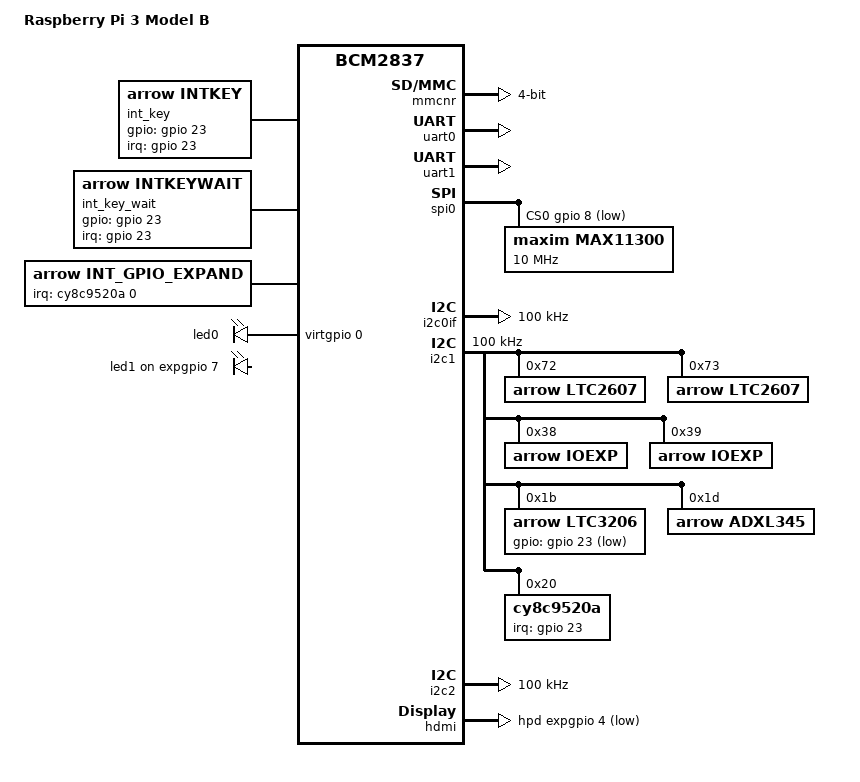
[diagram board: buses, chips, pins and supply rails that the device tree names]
/dts-v1/;

#include "bcm2710.dtsi"
#include "bcm2709-rpi.dtsi"
#include "bcm283x-rpi-smsc9514.dtsi"
#include "bcm283x-rpi-csi1-2lane.dtsi"
#include "bcm283x-rpi-i2c0mux_0_44.dtsi"
#include "bcm271x-rpi-bt.dtsi"
#include <dt-bindings/iio/maxim,max11300.h>

/ {
	compatible = "raspberrypi,3-model-b", "brcm,bcm2837";
	model = "Raspberry Pi 3 Model B";

	chosen {
		bootargs = "coherent_pool=1M 8250.nr_uarts=1 snd_bcm2835.enable_compat_alsa=0 snd_bcm2835.enable_hdmi=1";
	};

	aliases {
		serial0 = &uart1;
		serial1 = &uart0;
		mmc1 = &mmcnr;
	};
};

&gpio {
	spi0_pins: spi0_pins {
		brcm,pins = <9 10 11>;
		brcm,function = <4>; /* alt0 */
	};

	spi0_cs_pins: spi0_cs_pins {
		brcm,pins = <8 7>;
		brcm,function = <1>; /* output */
	};

	i2c0_pins: i2c0 {
		brcm,pins = <0 1>;
		brcm,function = <4>;
	};

	i2c1_pins: i2c1 {
		brcm,pins = <2 3>;
		brcm,function = <4>;
	};

	i2s_pins: i2s {
		brcm,pins = <18 19 20 21>;
		brcm,function = <4>; /* alt0 */
	};

	sdio_pins: sdio_pins {
		brcm,pins =     <34 35 36 37 38 39>;
		brcm,function = <7>; // alt3 = SD1
		brcm,pull =     <0 2 2 2 2 2>;
	};

	bt_pins: bt_pins {
		brcm,pins = <43>;
		brcm,function = <4>; /* alt0:GPCLK2 */
		brcm,pull = <0>;
	};

	uart0_pins: uart0_pins {
		brcm,pins = <32 33>;
		brcm,function = <7>; /* alt3=UART0 */
		brcm,pull = <0 2>;
	};

	uart1_pins: uart1_pins {
		brcm,pins;
		brcm,function;
		brcm,pull;
	};

	audio_pins: audio_pins {
		brcm,pins = <40 41>;
		brcm,function = <4>;
	};
	
	key_pin: key_pin {
		brcm,pins = <23>;
		brcm,function = <0>;	
		brcm,pull = <1>; 	
	};

	key_pins: key_pins {
		brcm,pins = <23 24>;
		brcm,function = <0>;	
		brcm,pull = <1 1>; 	
	};

	led_pins: led_pins {
		brcm,pins = <27 22 26>;
		brcm,function = <1>;	/* Output */
		brcm,pull = <1 1 1>;	/* Pull down */
	};

	cs_pins: cs_pins {
		brcm,pins = <23>;
		brcm,function = <1>;	/* Output */
		brcm,pull = <0>; 	/* none */
	};

	accel_int_pin: accel_int_pin {
		brcm,pins = <23>;
		brcm,function = <0>;	/* Input */
		brcm,pull = <0>; 	/* none */
	};
		
};

&mmcnr {
	pinctrl-names = "default";
	pinctrl-0 = <&sdio_pins>;
	bus-width = <4>;
	status = "okay";
};

&soc {
	virtgpio: virtgpio {
		compatible = "brcm,bcm2835-virtgpio";
		gpio-controller;
		#gpio-cells = <2>;
		firmware = <&firmware>;
		status = "okay";
	};

	hellokeys {
		compatible = "arrow,hellokeys";
	};

	linked_memory {
		compatible = "arrow,memory";
	};

	sdma_m2m {
		compatible = "arrow,sdma_m2m";

	};

	int_key {
		compatible = "arrow,intkey";

		pinctrl-names = "default";
		pinctrl-0 = <&key_pin>;
		gpios = <&gpio 23 0>;
		interrupts = <23 1>; 
		interrupt-parent = <&gpio>;
	};

	int_key_wait {
		compatible = "arrow,intkeywait";
		pinctrl-names = "default";
		pinctrl-0 = <&key_pin>;
		gpios = <&gpio 23 0>;
		interrupts = <23 1>; 
		interrupt-parent = <&gpio>;
	};

	int_gpio {
		compatible = "arrow,int_gpio_expand";
		pinctrl-names = "default";
		interrupt-parent = <&cy8c9520a>;
		interrupts = <0  IRQ_TYPE_EDGE_BOTH>;
	};

	ledpwm {
		compatible = "arrow,ledpwm";

		pinctrl-names = "default";
		pinctrl-0 = <&key_pins &led_pins>;

		bp1 {
			label = "MIKROBUS_KEY_1";
			gpios = <&gpio 23 GPIO_ACTIVE_LOW>;
			trigger = "falling";
		};
		
		bp2 {
			label = "MIKROBUS_KEY_2";
			gpios = <&gpio 24 GPIO_ACTIVE_LOW>;
			trigger = "falling";
		};

		ledred {
			label = "led";
			colour = "red";
			gpios = <&gpio 27 GPIO_ACTIVE_LOW>;
		};
		
		ledgreen {
			label = "led";
			colour = "green";
			gpios = <&gpio 22 GPIO_ACTIVE_LOW>;
		};

		ledblue {
			label = "led";
			colour = "blue";
			gpios = <&gpio 26 GPIO_ACTIVE_LOW>;
		};

	
	};

	ledred {
		compatible = "arrow,RGBleds";
		label = "ledred";
		pinctrl-0 = <&led_pins>;
	};

	ledgreen {
		compatible = "arrow,RGBleds";
		label = "ledgreen";
	};

	ledblue {
		compatible = "arrow,RGBleds";
		label = "ledblue";
	};

	ledclassRGB {
	
		compatible = "arrow,RGBclassleds";
		reg = <0x7e200000 0xb4>;
		pinctrl-names = "default";
		pinctrl-0 = <&led_pins>;

		red {
			label = "red";
		};

		green {
			label = "green";
		};

		blue {
			label = "blue";
			//linux,default-trigger = "heartbeat";
		};
	};

	UIO {
		compatible = "arrow,UIO";
		reg = <0x7e200000 0x1000>;	
		pinctrl-names = "default";
		pinctrl-0 = <&led_pins>;
	};

};

&firmware {
	expgpio: expgpio {
		compatible = "raspberrypi,firmware-gpio";
		gpio-controller;
		#gpio-cells = <2>;
		status = "okay";
	};
};

&uart0 {
	pinctrl-names = "default";
	pinctrl-0 = <&uart0_pins &bt_pins>;
	status = "okay";
};

&uart1 {
	pinctrl-names = "default";
	pinctrl-0 = <&uart1_pins>;
	status = "okay";
};

&bt {
	max-speed = <921600>;
};

&spi0 {
	pinctrl-names = "default";
	pinctrl-0 = <&spi0_pins &spi0_cs_pins>;
	cs-gpios = <&gpio 8 1>, <&gpio 7 1>;

	/*spidev0: spidev@0{
		compatible = "spidev";
		reg = <0>;	
		#address-cells = <1>;
		#size-cells = <0>;
		spi-max-frequency = <125000000>;
	};*/

	/*spidev1: spidev@1{
		compatible = "spidev";
		reg = <1>;	
		#address-cells = <1>;
		#size-cells = <0>;
		spi-max-frequency = <125000000>;
	};*/

	/*ADC: ltc2422@0 {
			compatible = "arrow,ltc2422";
			spi-max-frequency = <2000000>;
			reg = <0>;
			pinctrl-0 = <&key_pin>;
			int-gpios = <&gpio 23 0>;
	};*/

	max11300@0 {
		#size-cells = <0>;
		#address-cells = <1>;
		compatible = "maxim,max11300";
		reg = <0>;

		spi-max-frequency = <10000000>;

		channel@0 {
			reg = <0>;
			port-mode = <PORT_MODE_7>;
			AVR = <0>;
			adc-range = <ADC_VOLTAGE_RANGE_PLUS10>;
			adc-samples = <ADC_SAMPLES_1>;
		};
		channel@1 {
			reg = <1>;
			port-mode = <PORT_MODE_7>;
			AVR = <0>;
			adc-range = <ADC_VOLTAGE_RANGE_PLUS10>;
			adc-samples = <ADC_SAMPLES_128>;
		};
		channel@2 {
			reg = <2>;
			port-mode = <PORT_MODE_5>;
			dac-range = <DAC_VOLTAGE_RANGE_PLUS10>;
		};
		channel@3 {
			reg = <3>;
			port-mode = <PORT_MODE_5>;
			dac-range = <DAC_VOLTAGE_RANGE_PLUS10>;
		};
		channel@4 {
			reg = <4>;
			port-mode = <PORT_MODE_8>;
			AVR = <0>;
			adc-range = <ADC_VOLTAGE_RANGE_PLUS10>;
			adc-samples = <ADC_SAMPLES_1>;
			negative-input = <5>;
		};
		channel@5 {
			reg = <5>;
			port-mode = <PORT_MODE_9>;
			AVR = <0>;
			adc-range = <ADC_VOLTAGE_RANGE_PLUS10>;
		};
		channel@6 {
			reg = <6>;
			port-mode = <PORT_MODE_6>;
			AVR = <0>;
			dac-range = <DAC_VOLTAGE_RANGE_PLUS10>;
		};
		channel@7 {
			reg = <7>;
			port-mode = <PORT_MODE_1>;
		};
		channel@8 {
			reg = <8>;
			port-mode = <PORT_MODE_3>;
		};
		channel@9 {
			reg = <9>;
			port-mode = <PORT_MODE_0>;
		};
		channel@10 {
			reg = <10>;
			port-mode = <PORT_MODE_0>;
		};
		channel@11 {
			reg = <11>;
			port-mode = <PORT_MODE_0>;
		};
		channel@12 {
			reg = <12>;
			port-mode = <PORT_MODE_0>;
		};
		channel@13 {
			reg = <13>;
			port-mode = <PORT_MODE_0>;
		};
		channel@14 {
			reg = <14>;
			port-mode = <PORT_MODE_0>;
		};
		channel@15 {
			reg = <15>;
			port-mode = <PORT_MODE_0>;
		};
		channel@16 {
			reg = <16>;
			port-mode = <PORT_MODE_0>;
		};
		channel@17 {
			reg = <17>;
			port-mode = <PORT_MODE_0>;
		};
		channel@18 {
			reg = <18>;
			port-mode = <PORT_MODE_1>;
		};
		channel@19 {
			reg = <19>;
			port-mode = <PORT_MODE_3>;
		};
	};

	/*Accel: ADXL345@0 {
			compatible = "arrow,adxl345";
			spi-max-frequency = <5000000>;
			spi-cpol;
			spi-cpha;
			reg = <0>;
			pinctrl-0 = <&accel_int_pin>;
			int-gpios = <&gpio 23 0>;
			interrupts = <23 1>; 
			interrupt-parent = <&gpio>;
	};*/
};

&i2c0if {
	clock-frequency = <100000>;
};

&i2c1 {
	pinctrl-names = "default";
	pinctrl-0 = <&i2c1_pins>;
	clock-frequency = <100000>;
	status = "okay";

	ltc2607@72 {
		compatible = "arrow,ltc2607";
		reg = <0x72>;
	};
	ltc2607@73 {
		compatible = "arrow,ltc2607";
		reg = <0x73>;
	};

	ioexp@38 {
		 compatible = "arrow,ioexp";
		 reg = <0x38>;
	};

	ioexp@39 {
		 compatible = "arrow,ioexp";
		 reg = <0x39>;
	};	

	ltc3206: ltc3206@1b {
		compatible = "arrow,ltc3206";
		reg = <0x1b>;
		pinctrl-0 = <&cs_pins>;
		gpios = <&gpio 23 GPIO_ACTIVE_LOW>;
					
		led1r {
			label = "red";
		};

		led1b {
			label = "blue";
		};
					
		led1g {
			label = "green";
		};
					
		ledmain {
			label = "main";
		};
					
		ledsub {
			label = "sub";
		};
	};

	adxl345@1d {
		compatible = "arrow,adxl345";
		reg = <0x1d>;
	};

	cy8c9520a: cy8c9520a@20 {
		compatible = "cy8c9520a";
		reg = <0x20>;
		interrupt-controller;
		#interrupt-cells = <2>;
		gpio-controller;
		#gpio-cells = <2>;
			
		interrupts = <23 1>; 
		interrupt-parent = <&gpio>;
		
		#pwm-cells = <2>;
		pwm0 = <20>; // pwm not supported
		pwm1 = <3>;
		pwm2 = <20>; // pwm not supported
		pwm3 = <2>;

		pinctrl-names = "default";
		pinctrl-0 = <&accel_int_pin &cy8c9520apullups &cy8c9520apulldowns &cy8c9520adrivestrength>;
		
		cy8c9520apullups: pinmux1 {
			pins = "gpio0", "gpio1";
			bias-pull-up;
		};

		cy8c9520apulldowns: pinmux2 {
			pins = "gpio2";
			bias-pull-down;
		};

		/* pwm channel */
		cy8c9520adrivestrength: pinmux3 {
			pins = "gpio3";
			drive-strength;
		};
	};
};

&i2c2 {
	clock-frequency = <100000>;
};

&i2s {
	pinctrl-names = "default";
	pinctrl-0 = <&i2s_pins>;
};

&leds {
	act_led: act {
		label = "led0";
		linux,default-trigger = "mmc0";
		gpios = <&virtgpio 0 0>;
	};

	pwr_led: pwr {
		label = "led1";
		linux,default-trigger = "input";
		gpios = <&expgpio 7 0>;
	};
};

&hdmi {
	hpd-gpios = <&expgpio 4 GPIO_ACTIVE_LOW>;
};

&audio {
	pinctrl-names = "default";
	pinctrl-0 = <&audio_pins>;
};

/ {
	__overrides__ {
		act_led_gpio = <&act_led>,"gpios:4";
		act_led_activelow = <&act_led>,"gpios:8";
		act_led_trigger = <&act_led>,"linux,default-trigger";

		pwr_led_gpio = <&pwr_led>,"gpios:4";
		pwr_led_activelow = <&pwr_led>,"gpios:8";
		pwr_led_trigger = <&pwr_led>,"linux,default-trigger";
	};
};
